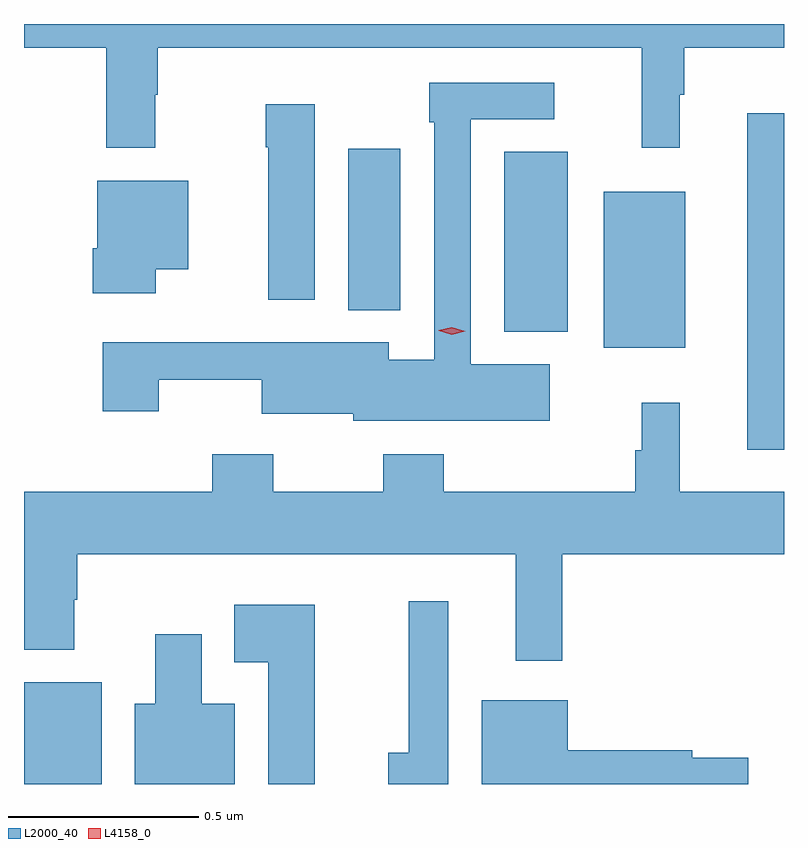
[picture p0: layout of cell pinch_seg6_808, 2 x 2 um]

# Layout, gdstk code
import gdstk
lib = gdstk.Library(unit=1e-6, precision=1e-09)
def R(c, l, rs):  # rectangles x0, y0, x1, y1
    for r in rs: c.add(gdstk.rectangle(r[:2], r[2:], *l))
def P(c, l, *ps):  # polygons
    for p in ps: c.add(gdstk.Polygon(p, *l))
L2000_40 = (2000, 40)
L4158_0 = (4158, 0)

pinch_seg6_808 = lib.new_cell('pinch_seg6_808')
R(pinch_seg6_808, L2000_40, [(328.999,978.699,329.203,978.967), (330.902,979.578,330.999,980.464), (330.524,979.847,330.739,980.257), (330.263,979.889,330.43,980.363), (329.852,979.946,329.989,980.371)])
P(pinch_seg6_808, L2000_40, [(329.344,980.513),(329.351,980.513),(329.351,980.636),(330.625,980.636),(330.625,980.373),(330.724,980.373),(330.724,980.513),(330.736,980.513),(330.736,980.636),(330.999,980.636),(330.999,980.699),(328.999,980.699),(328.999,980.636),(329.215,980.636),(329.215,980.373),(329.344,980.373)],
  [(330.382,979.804),(330.174,979.804),(330.174,980.448),(330.394,980.448),(330.394,980.544),(330.066,980.544),(330.066,980.441),(330.078,980.441),(330.078,979.816),(329.959,979.816),(329.959,979.861),(329.728,979.861),(329.728,979.862),(329.206,979.862),(329.206,979.68),(329.353,979.68),(329.353,979.763),(329.624,979.763),(329.624,979.673),(329.865,979.673),(329.865,979.655),(330.382,979.655)],
  [(329.764,980.488),(329.635,980.488),(329.635,980.375),(329.642,980.375),(329.642,979.974),(329.764,979.974)],
  [(329.346,980.054),(329.431,980.054),(329.431,980.287),(329.192,980.287),(329.192,980.109),(329.18,980.109),(329.18,979.991),(329.346,979.991)],
  [(330.415,979.304),(330.999,979.304),(330.999,979.468),(330.725,979.468),(330.725,979.702),(330.625,979.702),(330.625,979.577),(330.607,979.577),(330.607,979.468),(330.104,979.468),(330.104,979.567),(329.944,979.567),(329.944,979.468),(329.655,979.468),(329.655,979.567),(329.495,979.567),(329.495,979.468),(328.999,979.468),(328.999,979.052),(329.131,979.052),(329.131,979.184),(329.139,979.184),(329.139,979.304),(330.293,979.304),(330.293,979.023),(330.415,979.023)],
  [(330.115,979.18),(330.011,979.18),(330.011,978.781),(329.957,978.781),(329.957,978.699),(330.115,978.699)],
  [(329.764,979.171),(329.552,979.171),(329.552,979.019),(329.642,979.019),(329.642,978.699),(329.764,978.699)],
  [(329.554,978.91),(329.467,978.91),(329.467,979.093),(329.345,979.093),(329.345,978.91),(329.291,978.91),(329.291,978.699),(329.554,978.699)],
  [(330.905,978.768),(330.758,978.768),(330.758,978.788),(330.43,978.788),(330.43,978.919),(330.203,978.919),(330.203,978.699),(330.905,978.699)])
P(pinch_seg6_808, L4158_0, [(330.124,979.881),(330.09,979.892),(330.09,979.892),(330.09,979.893),(330.125,979.901),(330.16,979.89),(330.16,979.89),(330.16,979.89)])

lib.write_gds('pinch_seg6_808.gds')
